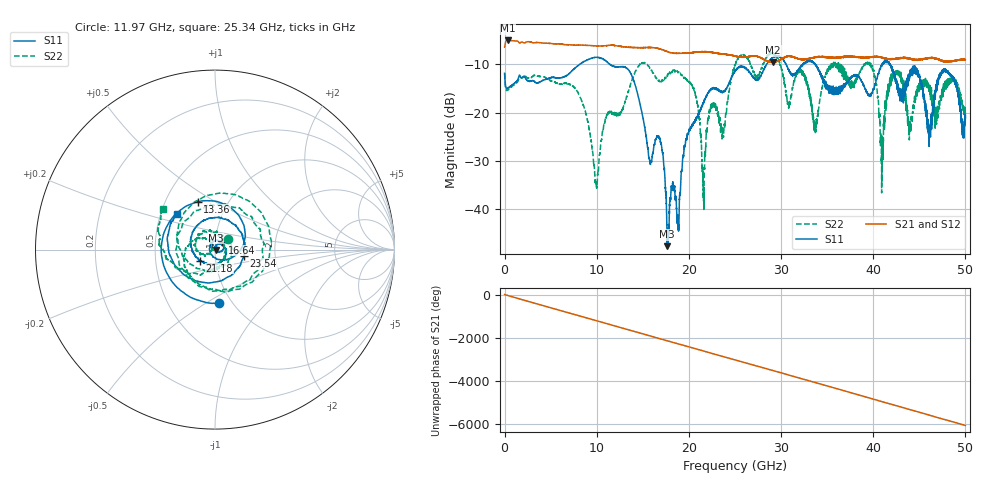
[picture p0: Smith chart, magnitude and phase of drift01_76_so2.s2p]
!Created with skrf (http://scikit-rf.org).
# Hz S RI R 50.0
!freq ReS11 ImS11 ReS21 ImS21 ReS12 ImS12 ReS22 ImS22
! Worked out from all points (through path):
!   10001 points, 300 kHz to 50 GHz, reference 50 ohm
!   highest |S21| = -5.05 dB at 325.3 MHz (marker M1); lowest = -9.6 dB at 29.14 GHz (marker M2)
!   group delay of S21, straight-line fit = 336 ps
!   lowest |S11| = -47.6 dB at 17.64 GHz (marker M3), VSWR 1.01, Z = 50.3 - j0.242 ohm
!   |S11| at or under -10 dB: start of sweep to 8.149 GHz; 11.44 GHz to 28.42 GHz (16.98 GHz wide, 85.2 % of centre); 41.86 GHz to end of sweep (the widest 3 of 17)
!   |S22| runs from -40.0 to -7.6 dB; largest |S21 - S12| = 0.014
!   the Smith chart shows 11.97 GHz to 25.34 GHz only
!   S11 on the Smith chart (normalised r, x): 11.97 GHz: 0.87, -0.57; 13.36 GHz: 0.72, +0.42; 16.64 GHz: 1.08, +0.09; 21.18 GHz: 0.84, -0.10; 23.54 GHz: 1.38, -0.10; 25.34 GHz: 0.60, +0.27
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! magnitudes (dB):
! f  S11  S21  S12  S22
! 300 kHz  -11.8  -6.4  -6.5  -11.9
! 325.3 MHz  -14.9  -5.0  -5.1  -15.3
! 8.335 GHz  -9.7  -6.0  -6.0  -17.4
! 9.955 GHz  -8.5  -6.2  -6.2  -34.9
! 11.97 GHz  -10.5  -6.1  -6.1  -20.3
! 13.36 GHz  -11.0  -6.5  -6.5  -15.9
! 15.76 GHz  -30.1  -6.5  -6.5  -10.7
! 16.64 GHz  -25.0  -6.7  -6.7  -13.1
! 16.67 GHz  -24.8  -6.7  -6.7  -13.3
! 17.64 GHz  -47.6  -7.3  -7.3  -12.5
! 21.18 GHz  -19.6  -7.4  -7.4  -21.7
! 21.59 GHz  -18.0  -7.4  -7.4  -37.7
! 22.45 GHz  -15.1  -7.5  -7.5  -19.0
! 23.54 GHz  -15.6  -7.8  -7.8  -22.7
! 25 GHz  -11.4  -8.3  -8.3  -10.1
! 25.34 GHz  -10.6  -8.4  -8.4  -8.7
! 29.14 GHz  -8.5  -9.6  -9.5  -7.7
! 33.34 GHz  -9.5  -8.7  -8.7  -19.3
! 39.49 GHz  -16.3  -8.6  -8.5  -9.7
! 40.97 GHz  -10.1  -8.6  -8.6  -28.3
! 41.67 GHz  -9.4  -8.8  -8.9  -14.4
! 50 GHz  -21.1  -9.0  -9.0  -20.4
